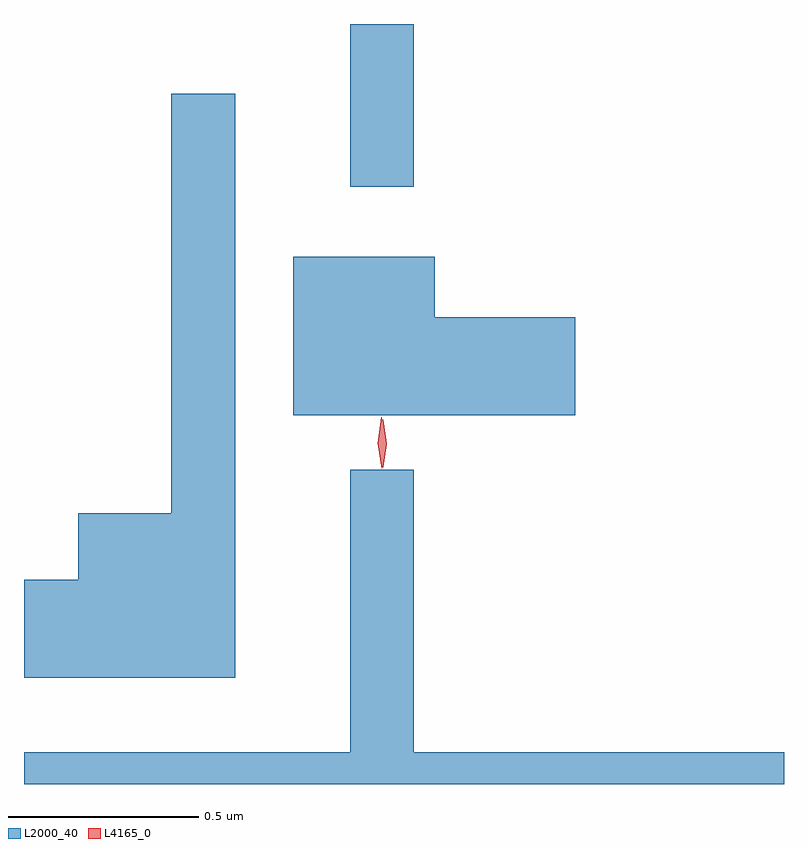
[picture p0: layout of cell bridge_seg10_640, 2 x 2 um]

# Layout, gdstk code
import gdstk
lib = gdstk.Library(unit=1e-6, precision=1e-09)
def R(c, l, rs):  # rectangles x0, y0, x1, y1
    for r in rs: c.add(gdstk.rectangle(r[:2], r[2:], *l))
def P(c, l, *ps):  # polygons
    for p in ps: c.add(gdstk.Polygon(p, *l))
L2000_40 = (2000, 40)
L4165_0 = (4165, 0)

bridge_seg10_640 = lib.new_cell('bridge_seg10_640')
R(bridge_seg10_640, L2000_40, [(668.521,2146.753,668.689,2147.181)])
P(bridge_seg10_640, L2000_40, [(668.219,2146.998),(668.051,2146.998),(668.051,2145.894),(667.806,2145.894),(667.806,2145.719),(667.663,2145.719),(667.663,2145.461),(668.219,2145.461)],
  [(669.114,2146.409),(668.744,2146.409),(668.744,2146.569),(668.371,2146.569),(668.371,2146.151),(669.114,2146.151)],
  [(669.663,2145.264),(668.689,2145.264),(668.689,2146.008),(668.521,2146.008),(668.521,2145.264),(667.663,2145.264),(667.663,2145.181),(669.663,2145.181)])
P(bridge_seg10_640, L4165_0, [(668.607,2146.013),(668.607,2146.014),(668.597,2146.076),(668.607,2146.14),(668.607,2146.14),(668.608,2146.14),(668.617,2146.076),(668.608,2146.014)],
  [(668.604,2146.01),(668.594,2146.078),(668.603,2146.146),(668.604,2146.146),(668.604,2146.146),(668.614,2146.078),(668.605,2146.01),(668.605,2146.01)])

lib.write_gds('bridge_seg10_640.gds')
